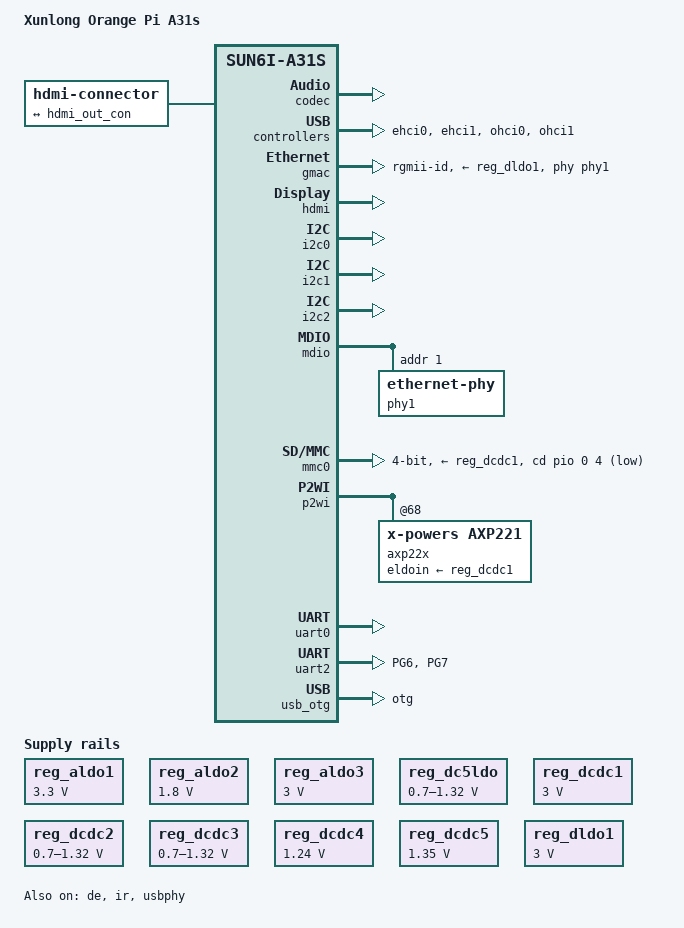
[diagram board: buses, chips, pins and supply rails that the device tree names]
// SPDX-License-Identifier: (GPL-2.0+ OR MIT)
/*
 * Xunlong Orange Pi A31s
 *
 * Based on the vendor Android sys_config ("mars-a31s").
 */

/dts-v1/;
#include "sun6i-a31s.dtsi"
#include <dt-bindings/gpio/gpio.h>

/ {
	model = "Xunlong Orange Pi A31s";
	compatible = "xunlong,orangepi-a31s", "allwinner,sun6i-a31s";

	aliases {
		ethernet0 = &gmac;
		serial0 = &uart0;
		serial1 = &uart2;
	};

	chosen {
		stdout-path = "serial0:115200n8";
	};

	hdmi-connector {
		compatible = "hdmi-connector";
		type = "a";

		port {
			hdmi_con_in: endpoint {
				remote-endpoint = <&hdmi_out_con>;
			};
		};
	};
};

&codec {
	allwinner,audio-routing =
		"Headphone", "HP",
		"Speaker", "LINEOUT",
		"LINEIN", "Line In",
		"MIC1", "Mic",
		"Mic", "MBIAS";
	allwinner,pa-gpios = <&pio 7 24 GPIO_ACTIVE_HIGH>; /* PH24 */
	status = "okay";
};

&cpu0 {
	cpu-supply = <&reg_dcdc3>;
};

&de {
	status = "okay";
};

&ehci0 {
	status = "okay";
};

/* The onboard RTL8188EU Wi-Fi sits on USB2. */
&ehci1 {
	status = "okay";
};

&gmac {
	pinctrl-names = "default";
	pinctrl-0 = <&gmac_rgmii_pins>;
	phy-handle = <&phy1>;
	phy-mode = "rgmii-id";
	phy-supply = <&reg_dldo1>;
	status = "okay";
};

&hdmi {
	status = "okay";
};

&hdmi_out {
	hdmi_out_con: endpoint {
		remote-endpoint = <&hdmi_con_in>;
	};
};

&i2c0 {
	pinctrl-names = "default";
	pinctrl-0 = <&i2c0_pins>;
	status = "okay";
};

&i2c1 {
	pinctrl-names = "default";
	pinctrl-0 = <&i2c1_pins>;
	status = "okay";
};

&i2c2 {
	pinctrl-names = "default";
	pinctrl-0 = <&i2c2_pins>;
	status = "okay";
};

&ir {
	pinctrl-names = "default";
	pinctrl-0 = <&s_ir_rx_pin>;
	status = "okay";
};

&mdio {
	phy1: ethernet-phy@1 {
		reg = <1>;
	};
};

&mmc0 {
	vmmc-supply = <&reg_dcdc1>;
	bus-width = <4>;
	cd-gpios = <&pio 0 4 GPIO_ACTIVE_LOW>; /* PA4 */
	status = "okay";
};

&ohci0 {
	status = "okay";
};

&ohci1 {
	status = "okay";
};

&p2wi {
	status = "okay";

	axp22x: pmic@68 {
		compatible = "x-powers,axp221";
		reg = <0x68>;
		interrupt-parent = <&r_intc>;
		interrupts = <GIC_SPI 32 IRQ_TYPE_LEVEL_LOW>;
		eldoin-supply = <&reg_dcdc1>;
		x-powers,drive-vbus-en;
	};
};

&pio {
	uart2_pg_pins: uart2-pg-pins {
		pins = "PG6", "PG7";
		function = "uart2";
	};
};

#include "axp22x.dtsi"

&reg_aldo1 {
	regulator-always-on;
	regulator-min-microvolt = <3300000>;
	regulator-max-microvolt = <3300000>;
	regulator-name = "vcc-wifi";
};

&reg_aldo2 {
	regulator-always-on;
	regulator-min-microvolt = <1800000>;
	regulator-max-microvolt = <1800000>;
	regulator-name = "vcc-aldo2";
};

&reg_aldo3 {
	regulator-always-on;
	regulator-min-microvolt = <3000000>;
	regulator-max-microvolt = <3000000>;
	regulator-name = "avcc";
};

&reg_dc5ldo {
	regulator-always-on;
	regulator-min-microvolt = <700000>;
	regulator-max-microvolt = <1320000>;
	regulator-name = "vdd-cpus";
};

&reg_dcdc1 {
	regulator-always-on;
	regulator-min-microvolt = <3000000>;
	regulator-max-microvolt = <3000000>;
	regulator-name = "vdd-3v0";
};

&reg_dcdc2 {
	regulator-min-microvolt = <700000>;
	regulator-max-microvolt = <1320000>;
	regulator-name = "vdd-gpu";
};

&reg_dcdc3 {
	regulator-always-on;
	regulator-min-microvolt = <700000>;
	regulator-max-microvolt = <1320000>;
	regulator-name = "vdd-cpu";
};

&reg_dcdc4 {
	regulator-always-on;
	regulator-min-microvolt = <1240000>;
	regulator-max-microvolt = <1240000>;
	regulator-name = "vdd-sys-dll";
};

&reg_dcdc5 {
	regulator-always-on;
	regulator-min-microvolt = <1350000>;
	regulator-max-microvolt = <1350000>;
	regulator-name = "vcc-dram";
};

&reg_dldo1 {
	regulator-min-microvolt = <3000000>;
	regulator-max-microvolt = <3000000>;
	regulator-name = "vcc-mac";
};

&reg_drivevbus {
	regulator-name = "usb0-vbus";
	status = "okay";
};

&uart0 {
	pinctrl-names = "default";
	pinctrl-0 = <&uart0_ph_pins>;
	status = "okay";
};

&uart2 {
	pinctrl-names = "default";
	pinctrl-0 = <&uart2_pg_pins>;
	status = "okay";
};

&usb_otg {
	dr_mode = "otg";
	status = "okay";
};

&usb_power_supply {
	status = "okay";
};

&usbphy {
	usb0_id_det-gpios = <&pio 7 23 GPIO_ACTIVE_HIGH>; /* PH23 */
	usb0_vbus_power-supply = <&usb_power_supply>;
	usb0_vbus-supply = <&reg_drivevbus>;
	status = "okay";
};
